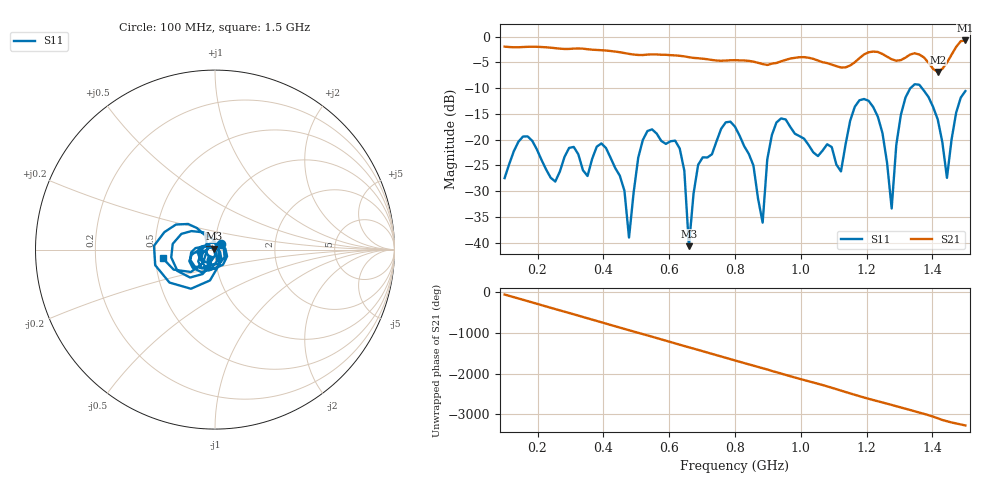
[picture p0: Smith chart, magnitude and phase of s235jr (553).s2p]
! NanoVNA-App
! Date: 2025-09-25 15:08:28
! Start: 100MHz Stop: 1,5GHz Points: 101
! S-Parameter data: F S11 S21 S12 S22
# Hz S RI R 50
!  Frequency  S11_Real  S11_Imag  S21_Real  S21_Imag  S12_Real  S12_Imag  S22_Real  S22_Imag
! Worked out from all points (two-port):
!   101 points, 100 MHz to 1.5 GHz, reference 50 ohm
!   highest |S21| = -0.76 dB at 1.5 GHz (marker M1); lowest = -6.9 dB at 1.416 GHz (marker M2)
!   |S21| within 3 dB of the highest: start of sweep to 634.7 MHz; 1.186 GHz to 1.258 GHz (71.73 MHz wide, 5.87 % of centre) (the widest 2 of 4)
!   lowest |S11| = -40.7 dB at 660 MHz (marker M3), VSWR 1.02, Z = 49.3 + j0.551 ohm
!   |S11| at or under -10 dB: start of sweep to 1.333 GHz; 1.368 GHz to end of sweep
!   S12 and S22 are empty: the file has one direction only
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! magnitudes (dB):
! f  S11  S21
! 100 MHz  -27.5  -2.0
! 156 MHz  -19.4  -2.0
! 338 MHz  -25.9  -2.4
! 408 MHz  -21.6  -2.7
! 478 MHz  -39.0  -3.4
! 520 MHz  -20.1  -3.6
! 576 MHz  -20.3  -3.5
! 632 MHz  -21.7  -3.7
! 660 MHz  -40.7  -4.0
! 688 MHz  -24.9  -4.2
! 800 MHz  -17.5  -4.6
! 884 MHz  -36.1  -5.3
! 926 MHz  -16.7  -5.1
! 1.038 GHz  -22.5  -4.3
! 1.122 GHz  -26.2  -6.0
! 1.206 GHz  -12.5  -3.1
! 1.276 GHz  -33.4  -4.4
! 1.304 GHz  -15.2  -4.6
! 1.332 GHz  -10.1  -3.5
! 1.416 GHz  -16.1  -6.9
! 1.444 GHz  -27.4  -5.1
! 1.5 GHz  -10.6  -0.8
